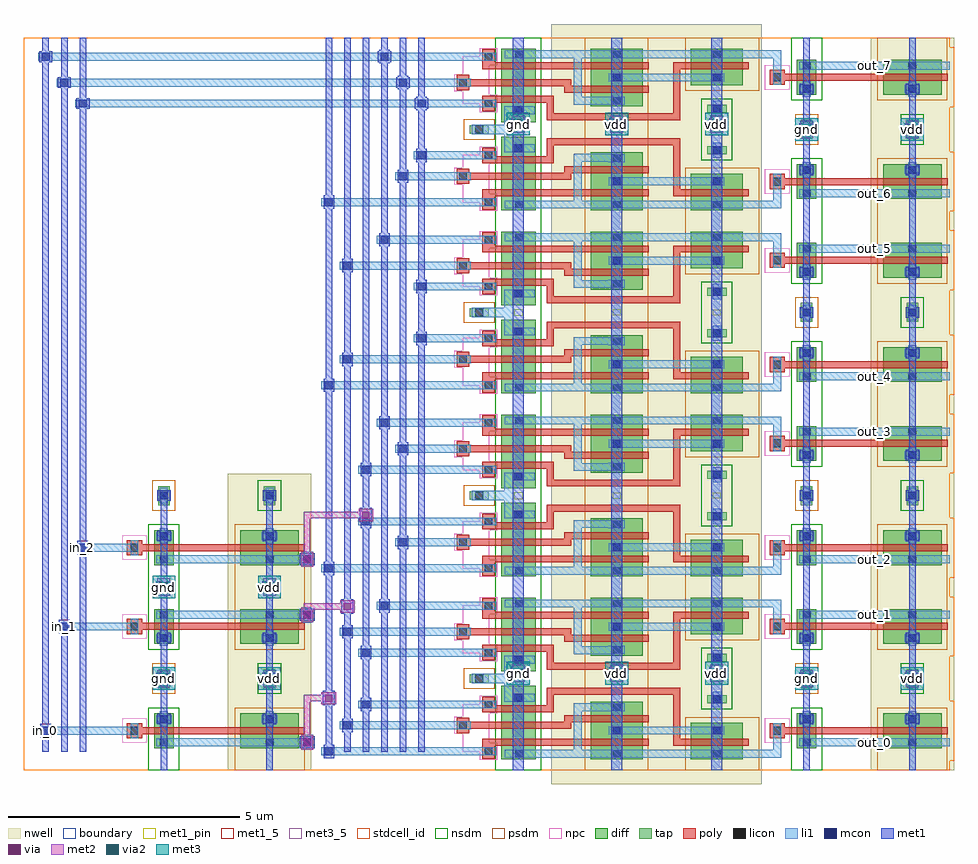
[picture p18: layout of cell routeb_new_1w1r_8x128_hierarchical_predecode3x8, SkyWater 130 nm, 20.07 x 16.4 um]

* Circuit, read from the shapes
.subckt routeb_new_1w1r_8x128_hierarchical_predecode3x8 gnd in_0 in_1 in_2 out_0 out_1 out_2 out_3 out_4 out_5 out_6 out_7 vdd
XM1 gnd in_0 routeb_new_1w1r_8x128_and3_dec_3/A gnd sky130_fd_pr__nfet_01v8 w=0.42 l=0.15
XM2 routeb_new_1w1r_8x128_and3_dec_3/B in_1 gnd gnd sky130_fd_pr__nfet_01v8 w=0.42 l=0.15
XM3 gnd in_2 routeb_new_1w1r_8x128_and3_dec_3/C gnd sky130_fd_pr__nfet_01v8 w=0.42 l=0.15
XM4 n1 routeb_new_1w1r_8x128_and3_dec_3/A routeb_new_1w1r_8x128_and3_dec_3/routeb_new_1w1r_8x128_pinv_dec_1/A gnd sky130_fd_pr__nfet_01v8 w=0.74 l=0.15
XM5 n2 routeb_new_1w1r_8x128_and3_dec_3/B n1 gnd sky130_fd_pr__nfet_01v8 w=0.74 l=0.15
XM6 gnd routeb_new_1w1r_8x128_and3_dec_3/C n2 gnd sky130_fd_pr__nfet_01v8 w=0.74 l=0.15
XM7 n3 routeb_new_1w1r_8x128_and3_dec_3/C gnd gnd sky130_fd_pr__nfet_01v8 w=0.74 l=0.15
XM8 n4 routeb_new_1w1r_8x128_and3_dec_3/B n3 gnd sky130_fd_pr__nfet_01v8 w=0.74 l=0.15
XM9 routeb_new_1w1r_8x128_and3_dec_4/routeb_new_1w1r_8x128_pinv_dec_1/A in_0 n4 gnd sky130_fd_pr__nfet_01v8 w=0.74 l=0.15
XM10 n5 routeb_new_1w1r_8x128_and3_dec_3/A routeb_new_1w1r_8x128_and3_dec_5/routeb_new_1w1r_8x128_pinv_dec_1/A gnd sky130_fd_pr__nfet_01v8 w=0.74 l=0.15
XM11 n6 in_1 n5 gnd sky130_fd_pr__nfet_01v8 w=0.74 l=0.15
XM12 gnd routeb_new_1w1r_8x128_and3_dec_3/C n6 gnd sky130_fd_pr__nfet_01v8 w=0.74 l=0.15
XM13 n7 routeb_new_1w1r_8x128_and3_dec_3/C gnd gnd sky130_fd_pr__nfet_01v8 w=0.74 l=0.15
XM14 n8 in_1 n7 gnd sky130_fd_pr__nfet_01v8 w=0.74 l=0.15
XM15 routeb_new_1w1r_8x128_and3_dec_6/routeb_new_1w1r_8x128_pinv_dec_1/A in_0 n8 gnd sky130_fd_pr__nfet_01v8 w=0.74 l=0.15
XM16 n9 routeb_new_1w1r_8x128_and3_dec_3/A routeb_new_1w1r_8x128_and3_dec_7/routeb_new_1w1r_8x128_pinv_dec_1/A gnd sky130_fd_pr__nfet_01v8 w=0.74 l=0.15
XM17 n10 routeb_new_1w1r_8x128_and3_dec_3/B n9 gnd sky130_fd_pr__nfet_01v8 w=0.74 l=0.15
XM18 gnd in_2 n10 gnd sky130_fd_pr__nfet_01v8 w=0.74 l=0.15
XM19 n11 in_2 gnd gnd sky130_fd_pr__nfet_01v8 w=0.74 l=0.15
XM20 n12 routeb_new_1w1r_8x128_and3_dec_3/B n11 gnd sky130_fd_pr__nfet_01v8 w=0.74 l=0.15
XM21 routeb_new_1w1r_8x128_and3_dec_8/routeb_new_1w1r_8x128_pinv_dec_1/A in_0 n12 gnd sky130_fd_pr__nfet_01v8 w=0.74 l=0.15
XM22 n13 routeb_new_1w1r_8x128_and3_dec_3/A routeb_new_1w1r_8x128_and3_dec_9/routeb_new_1w1r_8x128_pinv_dec_1/A gnd sky130_fd_pr__nfet_01v8 w=0.74 l=0.15
XM23 n14 in_1 n13 gnd sky130_fd_pr__nfet_01v8 w=0.74 l=0.15
XM24 gnd in_2 n14 gnd sky130_fd_pr__nfet_01v8 w=0.74 l=0.15
XM25 n15 in_2 gnd gnd sky130_fd_pr__nfet_01v8 w=0.74 l=0.15
XM26 n16 in_1 n15 gnd sky130_fd_pr__nfet_01v8 w=0.74 l=0.15
XM27 routeb_new_1w1r_8x128_and3_dec_10/routeb_new_1w1r_8x128_pinv_dec_1/A in_0 n16 gnd sky130_fd_pr__nfet_01v8 w=0.74 l=0.15
XM28 gnd routeb_new_1w1r_8x128_and3_dec_3/routeb_new_1w1r_8x128_pinv_dec_1/A out_0 gnd sky130_fd_pr__nfet_01v8 w=0.42 l=0.15
XM29 out_1 routeb_new_1w1r_8x128_and3_dec_4/routeb_new_1w1r_8x128_pinv_dec_1/A gnd gnd sky130_fd_pr__nfet_01v8 w=0.42 l=0.15
XM30 gnd routeb_new_1w1r_8x128_and3_dec_5/routeb_new_1w1r_8x128_pinv_dec_1/A out_2 gnd sky130_fd_pr__nfet_01v8 w=0.42 l=0.15
XM31 out_3 routeb_new_1w1r_8x128_and3_dec_6/routeb_new_1w1r_8x128_pinv_dec_1/A gnd gnd sky130_fd_pr__nfet_01v8 w=0.42 l=0.15
XM32 gnd routeb_new_1w1r_8x128_and3_dec_7/routeb_new_1w1r_8x128_pinv_dec_1/A out_4 gnd sky130_fd_pr__nfet_01v8 w=0.42 l=0.15
XM33 out_5 routeb_new_1w1r_8x128_and3_dec_8/routeb_new_1w1r_8x128_pinv_dec_1/A gnd gnd sky130_fd_pr__nfet_01v8 w=0.42 l=0.15
XM34 gnd routeb_new_1w1r_8x128_and3_dec_9/routeb_new_1w1r_8x128_pinv_dec_1/A out_6 gnd sky130_fd_pr__nfet_01v8 w=0.42 l=0.15
XM35 out_7 routeb_new_1w1r_8x128_and3_dec_10/routeb_new_1w1r_8x128_pinv_dec_1/A gnd gnd sky130_fd_pr__nfet_01v8 w=0.42 l=0.15
XM36 vdd in_0 routeb_new_1w1r_8x128_and3_dec_3/A vdd sky130_fd_pr__pfet_01v8 w=1.26 l=0.15
XM37 routeb_new_1w1r_8x128_and3_dec_3/B in_1 vdd vdd sky130_fd_pr__pfet_01v8 w=1.26 l=0.15
XM38 vdd in_2 routeb_new_1w1r_8x128_and3_dec_3/C vdd sky130_fd_pr__pfet_01v8 w=1.26 l=0.15
XM39 vdd routeb_new_1w1r_8x128_and3_dec_3/A routeb_new_1w1r_8x128_and3_dec_3/routeb_new_1w1r_8x128_pinv_dec_1/A vdd sky130_fd_pr__pfet_01v8 w=1.12 l=0.15
XM40 routeb_new_1w1r_8x128_and3_dec_3/routeb_new_1w1r_8x128_pinv_dec_1/A routeb_new_1w1r_8x128_and3_dec_3/B vdd vdd sky130_fd_pr__pfet_01v8 w=1.12 l=0.15
XM41 vdd routeb_new_1w1r_8x128_and3_dec_3/B routeb_new_1w1r_8x128_and3_dec_4/routeb_new_1w1r_8x128_pinv_dec_1/A vdd sky130_fd_pr__pfet_01v8 w=1.12 l=0.15
XM42 routeb_new_1w1r_8x128_and3_dec_4/routeb_new_1w1r_8x128_pinv_dec_1/A in_0 vdd vdd sky130_fd_pr__pfet_01v8 w=1.12 l=0.15
XM43 vdd routeb_new_1w1r_8x128_and3_dec_3/A routeb_new_1w1r_8x128_and3_dec_5/routeb_new_1w1r_8x128_pinv_dec_1/A vdd sky130_fd_pr__pfet_01v8 w=1.12 l=0.15
XM44 routeb_new_1w1r_8x128_and3_dec_5/routeb_new_1w1r_8x128_pinv_dec_1/A in_1 vdd vdd sky130_fd_pr__pfet_01v8 w=1.12 l=0.15
XM45 vdd in_1 routeb_new_1w1r_8x128_and3_dec_6/routeb_new_1w1r_8x128_pinv_dec_1/A vdd sky130_fd_pr__pfet_01v8 w=1.12 l=0.15
XM46 routeb_new_1w1r_8x128_and3_dec_6/routeb_new_1w1r_8x128_pinv_dec_1/A in_0 vdd vdd sky130_fd_pr__pfet_01v8 w=1.12 l=0.15
XM47 vdd routeb_new_1w1r_8x128_and3_dec_3/A routeb_new_1w1r_8x128_and3_dec_7/routeb_new_1w1r_8x128_pinv_dec_1/A vdd sky130_fd_pr__pfet_01v8 w=1.12 l=0.15
XM48 routeb_new_1w1r_8x128_and3_dec_7/routeb_new_1w1r_8x128_pinv_dec_1/A routeb_new_1w1r_8x128_and3_dec_3/B vdd vdd sky130_fd_pr__pfet_01v8 w=1.12 l=0.15
XM49 vdd routeb_new_1w1r_8x128_and3_dec_3/B routeb_new_1w1r_8x128_and3_dec_8/routeb_new_1w1r_8x128_pinv_dec_1/A vdd sky130_fd_pr__pfet_01v8 w=1.12 l=0.15
XM50 routeb_new_1w1r_8x128_and3_dec_8/routeb_new_1w1r_8x128_pinv_dec_1/A in_0 vdd vdd sky130_fd_pr__pfet_01v8 w=1.12 l=0.15
XM51 vdd routeb_new_1w1r_8x128_and3_dec_3/A routeb_new_1w1r_8x128_and3_dec_9/routeb_new_1w1r_8x128_pinv_dec_1/A vdd sky130_fd_pr__pfet_01v8 w=1.12 l=0.15
XM52 routeb_new_1w1r_8x128_and3_dec_9/routeb_new_1w1r_8x128_pinv_dec_1/A in_1 vdd vdd sky130_fd_pr__pfet_01v8 w=1.12 l=0.15
XM53 vdd in_1 routeb_new_1w1r_8x128_and3_dec_10/routeb_new_1w1r_8x128_pinv_dec_1/A vdd sky130_fd_pr__pfet_01v8 w=1.12 l=0.15
XM54 routeb_new_1w1r_8x128_and3_dec_10/routeb_new_1w1r_8x128_pinv_dec_1/A in_0 vdd vdd sky130_fd_pr__pfet_01v8 w=1.12 l=0.15
XM55 vdd routeb_new_1w1r_8x128_and3_dec_3/C routeb_new_1w1r_8x128_and3_dec_3/routeb_new_1w1r_8x128_pinv_dec_1/A vdd sky130_fd_pr__pfet_01v8 w=1.12 l=0.15
XM56 routeb_new_1w1r_8x128_and3_dec_4/routeb_new_1w1r_8x128_pinv_dec_1/A routeb_new_1w1r_8x128_and3_dec_3/C vdd vdd sky130_fd_pr__pfet_01v8 w=1.12 l=0.15
XM57 vdd routeb_new_1w1r_8x128_and3_dec_3/C routeb_new_1w1r_8x128_and3_dec_5/routeb_new_1w1r_8x128_pinv_dec_1/A vdd sky130_fd_pr__pfet_01v8 w=1.12 l=0.15
XM58 routeb_new_1w1r_8x128_and3_dec_6/routeb_new_1w1r_8x128_pinv_dec_1/A routeb_new_1w1r_8x128_and3_dec_3/C vdd vdd sky130_fd_pr__pfet_01v8 w=1.12 l=0.15
XM59 vdd in_2 routeb_new_1w1r_8x128_and3_dec_7/routeb_new_1w1r_8x128_pinv_dec_1/A vdd sky130_fd_pr__pfet_01v8 w=1.12 l=0.15
XM60 routeb_new_1w1r_8x128_and3_dec_8/routeb_new_1w1r_8x128_pinv_dec_1/A in_2 vdd vdd sky130_fd_pr__pfet_01v8 w=1.12 l=0.15
XM61 vdd in_2 routeb_new_1w1r_8x128_and3_dec_9/routeb_new_1w1r_8x128_pinv_dec_1/A vdd sky130_fd_pr__pfet_01v8 w=1.12 l=0.15
XM62 routeb_new_1w1r_8x128_and3_dec_10/routeb_new_1w1r_8x128_pinv_dec_1/A in_2 vdd vdd sky130_fd_pr__pfet_01v8 w=1.12 l=0.15
XM63 vdd routeb_new_1w1r_8x128_and3_dec_3/routeb_new_1w1r_8x128_pinv_dec_1/A out_0 vdd sky130_fd_pr__pfet_01v8 w=1.26 l=0.15
XM64 out_1 routeb_new_1w1r_8x128_and3_dec_4/routeb_new_1w1r_8x128_pinv_dec_1/A vdd vdd sky130_fd_pr__pfet_01v8 w=1.26 l=0.15
XM65 vdd routeb_new_1w1r_8x128_and3_dec_5/routeb_new_1w1r_8x128_pinv_dec_1/A out_2 vdd sky130_fd_pr__pfet_01v8 w=1.26 l=0.15
XM66 out_3 routeb_new_1w1r_8x128_and3_dec_6/routeb_new_1w1r_8x128_pinv_dec_1/A vdd vdd sky130_fd_pr__pfet_01v8 w=1.26 l=0.15
XM67 vdd routeb_new_1w1r_8x128_and3_dec_7/routeb_new_1w1r_8x128_pinv_dec_1/A out_4 vdd sky130_fd_pr__pfet_01v8 w=1.26 l=0.15
XM68 out_5 routeb_new_1w1r_8x128_and3_dec_8/routeb_new_1w1r_8x128_pinv_dec_1/A vdd vdd sky130_fd_pr__pfet_01v8 w=1.26 l=0.15
XM69 vdd routeb_new_1w1r_8x128_and3_dec_9/routeb_new_1w1r_8x128_pinv_dec_1/A out_6 vdd sky130_fd_pr__pfet_01v8 w=1.26 l=0.15
XM70 out_7 routeb_new_1w1r_8x128_and3_dec_10/routeb_new_1w1r_8x128_pinv_dec_1/A vdd vdd sky130_fd_pr__pfet_01v8 w=1.26 l=0.15
.ends

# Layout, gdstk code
from math import pi, radians
import gdstk
lib = gdstk.Library(unit=1e-6, precision=1e-09)
def R(c, l, rs):  # rectangles x0, y0, x1, y1
    for r in rs: c.add(gdstk.rectangle(r[:2], r[2:], *l))
def A(c, l, x, y, w, h, nx, ny, dx, dy):  # array of equal rectangles
    R(c, l, [(x+i*dx, y+j*dy, x+i*dx+w, y+j*dy+h) for i in range(nx) for j in range(ny)])
nwell = (64, 20)
diff = (65, 20)
tap = (65, 44)
poly = (66, 20)
licon = (66, 44)
li1 = (67, 20)
mcon = (67, 44)
met1_5 = (68, 5)
met1_pin = (68, 16)
met1 = (68, 20)
via = (68, 44)
met2 = (69, 20)
via2 = (69, 44)
met3_5 = (70, 5)
met3 = (70, 20)
stdcell_id = (81, 4)
nsdm = (93, 44)
psdm = (94, 20)
npc = (95, 20)
boundary = (235, 4)

routeb_new_1w1r_8x128_co = lib.new_cell('routeb_new_1w1r_8x128_contact_11')
R(routeb_new_1w1r_8x128_co, nwell, [(-0.295,-0.255,0.545,0.585)])
R(routeb_new_1w1r_8x128_co, diff, [(0,0.02,0.25,0.31)])
R(routeb_new_1w1r_8x128_co, licon, [(0.04,0.08,0.21,0.25)])
R(routeb_new_1w1r_8x128_co, li1, [(0.04,0,0.21,0.33)])
R(routeb_new_1w1r_8x128_co, stdcell_id, [(-0.295,-0.255,0.545,0.585)])
R(routeb_new_1w1r_8x128_co, psdm, [(-0.125,-0.105,0.375,0.435)])
R(routeb_new_1w1r_8x128_co, boundary, [(-0.295,-0.255,0.545,0.585)])

routeb_new_1w1r_8x128_pm = lib.new_cell('routeb_new_1w1r_8x128_pmos_m1_w1_260_sli_dli_da_p')
R(routeb_new_1w1r_8x128_pm, nwell, [(-0.27,-0.27,1.02,1.53)])
R(routeb_new_1w1r_8x128_pm, diff, [(0,0,0.75,1.26)])
R(routeb_new_1w1r_8x128_pm, poly, [(0.3,-0.13,0.45,1.39), (0.3,-0.13,0.45,1.39)])
R(routeb_new_1w1r_8x128_pm, li1, [(0.04,0.465,0.21,0.795), (0.54,0.465,0.71,0.795)])
R(routeb_new_1w1r_8x128_pm, stdcell_id, [(-0.27,-0.27,1.02,1.53)])
R(routeb_new_1w1r_8x128_pm, psdm, [(-0.125,-0.125,0.875,1.385)])
R(routeb_new_1w1r_8x128_pm, boundary, [(-0.27,-0.27,1.02,1.53)])
routeb_new_1w1r_8x128_pm.add(gdstk.Reference(routeb_new_1w1r_8x128_co, (0,0.465)))
routeb_new_1w1r_8x128_pm.add(gdstk.Reference(routeb_new_1w1r_8x128_co, (0.5,0.465)))
routeb_new_1w1r_8x128_pm.add(gdstk.Label('G', (0.375,0.63), layer=66, texttype=5))
routeb_new_1w1r_8x128_pm.add(gdstk.Label('S', (0.125,0.63), layer=67, texttype=5))
routeb_new_1w1r_8x128_pm.add(gdstk.Label('D', (0.625,0.63), layer=67, texttype=5))

c_routeb_new_1w1r_8x128_co = lib.new_cell('routeb_new_1w1r_8x128_contact_10')
R(c_routeb_new_1w1r_8x128_co, diff, [(0,0.02,0.25,0.31)])
R(c_routeb_new_1w1r_8x128_co, licon, [(0.04,0.08,0.21,0.25)])
R(c_routeb_new_1w1r_8x128_co, li1, [(0.04,0,0.21,0.33)])
R(c_routeb_new_1w1r_8x128_co, stdcell_id, [(-0.125,-0.105,0.375,0.435)])
R(c_routeb_new_1w1r_8x128_co, nsdm, [(-0.125,-0.105,0.375,0.435)])
R(c_routeb_new_1w1r_8x128_co, boundary, [(-0.125,-0.105,0.375,0.435)])

routeb_new_1w1r_8x128_nm = lib.new_cell('routeb_new_1w1r_8x128_nmos_m1_w0_420_sli_dli_da_p')
R(routeb_new_1w1r_8x128_nm, diff, [(0,0,0.75,0.42)])
R(routeb_new_1w1r_8x128_nm, poly, [(0.3,-0.13,0.45,0.55), (0.3,-0.13,0.45,0.55)])
R(routeb_new_1w1r_8x128_nm, li1, [(0.04,0.045,0.21,0.375), (0.54,0.045,0.71,0.375)])
R(routeb_new_1w1r_8x128_nm, stdcell_id, [(-0.125,-0.13,0.875,0.55)])
R(routeb_new_1w1r_8x128_nm, nsdm, [(-0.125,-0.125,0.875,0.545)])
R(routeb_new_1w1r_8x128_nm, boundary, [(-0.125,-0.13,0.875,0.55)])
routeb_new_1w1r_8x128_nm.add(gdstk.Reference(c_routeb_new_1w1r_8x128_co, (0,0.045)))
routeb_new_1w1r_8x128_nm.add(gdstk.Reference(c_routeb_new_1w1r_8x128_co, (0.5,0.045)))
routeb_new_1w1r_8x128_nm.add(gdstk.Label('G', (0.375,0.21), layer=66, texttype=5))
routeb_new_1w1r_8x128_nm.add(gdstk.Label('S', (0.125,0.21), layer=67, texttype=5))
routeb_new_1w1r_8x128_nm.add(gdstk.Label('D', (0.625,0.21), layer=67, texttype=5))

c_routeb_new_1w1r_8x128_co_ = lib.new_cell('routeb_new_1w1r_8x128_contact_12')
R(c_routeb_new_1w1r_8x128_co_, nwell, [(-0.295,-0.215,0.545,0.625)])
R(c_routeb_new_1w1r_8x128_co_, tap, [(0,0,0.25,0.41)])
R(c_routeb_new_1w1r_8x128_co_, licon, [(0.04,0.12,0.21,0.29)])
R(c_routeb_new_1w1r_8x128_co_, li1, [(0.04,0.04,0.21,0.37)])
R(c_routeb_new_1w1r_8x128_co_, stdcell_id, [(-0.295,-0.215,0.545,0.625)])
R(c_routeb_new_1w1r_8x128_co_, nsdm, [(-0.125,-0.125,0.375,0.535)])
R(c_routeb_new_1w1r_8x128_co_, boundary, [(-0.295,-0.215,0.545,0.625)])

c_routeb_new_1w1r_8x128_co__ = lib.new_cell('routeb_new_1w1r_8x128_contact_13')
R(c_routeb_new_1w1r_8x128_co__, li1, [(0.06,0,0.23,0.33)])
R(c_routeb_new_1w1r_8x128_co__, mcon, [(0.06,0.08,0.23,0.25)])
R(c_routeb_new_1w1r_8x128_co__, met1, [(0,0.05,0.29,0.28)])
R(c_routeb_new_1w1r_8x128_co__, stdcell_id, [(0,0,0.29,0.33)])
R(c_routeb_new_1w1r_8x128_co__, boundary, [(0,0,0.29,0.33)])

c_routeb_new_1w1r_8x128_co___ = lib.new_cell('routeb_new_1w1r_8x128_contact_14')
R(c_routeb_new_1w1r_8x128_co___, tap, [(0,0,0.25,0.41)])
R(c_routeb_new_1w1r_8x128_co___, licon, [(0.04,0.12,0.21,0.29)])
R(c_routeb_new_1w1r_8x128_co___, li1, [(0.04,0.04,0.21,0.37)])
R(c_routeb_new_1w1r_8x128_co___, stdcell_id, [(-0.125,-0.125,0.375,0.535)])
R(c_routeb_new_1w1r_8x128_co___, psdm, [(-0.125,-0.125,0.375,0.535)])
R(c_routeb_new_1w1r_8x128_co___, boundary, [(-0.125,-0.125,0.375,0.535)])

c_routeb_new_1w1r_8x128_co____ = lib.new_cell('routeb_new_1w1r_8x128_contact_15')
R(c_routeb_new_1w1r_8x128_co____, poly, [(0,0,0.33,0.33)])
R(c_routeb_new_1w1r_8x128_co____, licon, [(0.08,0.08,0.25,0.25)])
R(c_routeb_new_1w1r_8x128_co____, li1, [(0.08,0,0.25,0.33)])
R(c_routeb_new_1w1r_8x128_co____, stdcell_id, [(-0.1,-0.1,0.43,0.43)])
R(c_routeb_new_1w1r_8x128_co____, npc, [(-0.1,-0.1,0.43,0.43)])
R(c_routeb_new_1w1r_8x128_co____, boundary, [(-0.1,-0.1,0.43,0.43)])

routeb_new_1w1r_8x128_pi = lib.new_cell('routeb_new_1w1r_8x128_pinv_dec')
R(routeb_new_1w1r_8x128_pi, nwell, [(2.4,0,4.2,2.45)])
R(routeb_new_1w1r_8x128_pi, poly, [(0.385,0.775,0.68,0.925), (1.36,0.775,2.54,0.925)])
R(routeb_new_1w1r_8x128_pi, li1, [(0.855,0.515,4.11,0.685), (0.3,0.685,0.47,1.015)])
R(routeb_new_1w1r_8x128_pi, met1_5, [(0.95,0,1.09,1.975), (3.23,0,3.37,1.975)])
R(routeb_new_1w1r_8x128_pi, met1, [(0.95,0,1.09,1.975), (3.23,0,3.37,1.975)])
R(routeb_new_1w1r_8x128_pi, stdcell_id, [(0,0,4.11,1.975), (0,0,4.11,1.975)])
R(routeb_new_1w1r_8x128_pi, nsdm, [(0.685,0,1.355,1.225)])
R(routeb_new_1w1r_8x128_pi, psdm, [(2.545,0,4.055,1.225)])
R(routeb_new_1w1r_8x128_pi, boundary, [(0,0,4.11,1.975), (0,0,4.11,1.975)])
routeb_new_1w1r_8x128_pi.add(gdstk.Reference(routeb_new_1w1r_8x128_pm, (2.67,1.225), rotation=3*pi/2))
routeb_new_1w1r_8x128_pi.add(gdstk.Reference(routeb_new_1w1r_8x128_nm, (0.81,1.225), rotation=3*pi/2))
routeb_new_1w1r_8x128_pi.add(gdstk.Reference(c_routeb_new_1w1r_8x128_co_, (3.175,1.77)))
routeb_new_1w1r_8x128_pi.add(gdstk.Reference(c_routeb_new_1w1r_8x128_co__, (3.155,1.81)))
routeb_new_1w1r_8x128_pi.add(gdstk.Reference(c_routeb_new_1w1r_8x128_co___, (0.895,1.77)))
routeb_new_1w1r_8x128_pi.add(gdstk.Reference(c_routeb_new_1w1r_8x128_co__, (0.875,1.81)))
routeb_new_1w1r_8x128_pi.add(gdstk.Reference(c_routeb_new_1w1r_8x128_co____, (0.22,0.685)))
routeb_new_1w1r_8x128_pi.add(gdstk.Reference(c_routeb_new_1w1r_8x128_co__, (0.875,0.935)))
routeb_new_1w1r_8x128_pi.add(gdstk.Reference(c_routeb_new_1w1r_8x128_co__, (3.155,0.935)))
routeb_new_1w1r_8x128_pi.add(gdstk.Label('A', (0.385,0.85), layer=67, texttype=5))
routeb_new_1w1r_8x128_pi.add(gdstk.Label('Z', (2.482,0.6), layer=67, texttype=5))
routeb_new_1w1r_8x128_pi.add(gdstk.Label('gnd', (1.02,0.988), layer=68, texttype=5))
routeb_new_1w1r_8x128_pi.add(gdstk.Label('vdd', (3.3,0.988), layer=68, texttype=5))

sky130_fd_bd_sram__openr = lib.new_cell('sky130_fd_bd_sram__openram_dp_nand3_dec')
R(sky130_fd_bd_sram__openr, nwell, [(2.07,-0.3,6.61,2.37)])
R(sky130_fd_bd_sram__openr, diff, [(0.99,0.23,1.73,1.82), (2.92,0.23,4.04,1.48), (5.08,0.23,6.2,1.02)])
R(sky130_fd_bd_sram__openr, tap, [(5.43,1.44,5.85,1.61), (0.31,1.885,0.72,2.07)])
R(sky130_fd_bd_sram__openr, poly, [(0.58,0.24,0.85,0.53), (0.58,0.53,4.17,0.68), (4.7,0.53,6.33,0.68), (4.7,0.68,4.85,1.63), (0.03,0.8,0.3,0.89), (0.03,0.89,2.5,1.03), (0.03,1.03,4.17,1.04), (0.03,1.04,0.3,1.13), (2.35,1.04,4.17,1.18), (0.58,1.25,2.12,1.4), (0.58,1.4,0.85,1.58), (1.97,1.4,2.12,1.63), (1.97,1.63,4.85,1.78)])
A(sky130_fd_bd_sram__openr, licon, 3.395, 0.27, 0.17, 0.17, 1, 3, 0, 0.5)
R(sky130_fd_bd_sram__openr, licon, [(1.295,0.27,1.465,0.44), (5.555,0.27,5.725,0.44), (0.63,0.32,0.8,0.49), (5.555,0.77,5.725,0.94), (0.08,0.88,0.25,1.05), (0.63,1.33,0.8,1.5), (5.55,1.44,5.72,1.61), (1.305,1.48,1.475,1.65), (0.43,1.89,0.6,2.06)])
R(sky130_fd_bd_sram__openr, li1, [(1.06,0.27,6.61,0.44), (1.06,0.27,6.61,0.44), (0.55,0.32,0.88,0.49), (0.55,0.32,0.88,0.49), (2.555,0.44,2.725,1.275), (3.31,0.77,5.805,0.94), (0,0.88,0.33,1.05), (0,0.88,0.33,1.05), (3.31,1.27,3.65,1.275), (2.555,1.275,3.65,1.44), (0.55,1.33,0.88,1.5), (0.55,1.33,0.88,1.5), (5.55,1.36,5.74,1.69), (2.555,1.44,3.435,1.445), (1.05,1.48,1.71,1.65), (1.05,1.65,1.25,1.885), (0.35,1.885,1.25,2.075)])
R(sky130_fd_bd_sram__openr, mcon, [(3.395,0.77,3.565,0.94), (5.555,0.77,5.725,0.94), (5.555,1.44,5.725,1.61), (1.27,1.48,1.44,1.65)])
R(sky130_fd_bd_sram__openr, met1_5, [(1.24,0,1.47,2.09), (3.36,0,3.6,2.09), (5.52,0,5.76,2.09)])
R(sky130_fd_bd_sram__openr, met1_pin, [(1.27,1.9,1.45,1.99), (3.39,1.91,3.57,2), (5.55,1.94,5.73,2.03)])
R(sky130_fd_bd_sram__openr, met1, [(1.24,0,1.47,2.09), (1.24,0,1.47,2.09), (3.36,0,3.6,2.09), (3.36,0,3.6,2.09), (5.52,0,5.76,2.09), (5.52,0,5.76,2.09)])
R(sky130_fd_bd_sram__openr, nsdm, [(0.865,0,1.855,1.975), (5.305,1.315,5.975,1.975)])
R(sky130_fd_bd_sram__openr, psdm, [(2.795,0,4.165,1.975), (4.955,0,6.56,1.145), (0.185,1.76,0.845,2.195)])
R(sky130_fd_bd_sram__openr, npc, [(0.53,0.22,0.9,0.395), (0.155,0.395,0.9,0.59), (0.155,0.59,0.725,0.78), (-0.02,0.78,0.725,1.15), (0.155,1.15,0.725,1.23), (0.155,1.23,0.9,1.425), (0.53,1.425,0.9,1.6)])
R(sky130_fd_bd_sram__openr, boundary, [(0,0,6.56,1.975)])
sky130_fd_bd_sram__openr.add(gdstk.Label('VDD', (3.48,1.955), layer=68, texttype=16))
sky130_fd_bd_sram__openr.add(gdstk.Label('VDD', (5.64,1.985), layer=68, texttype=16))
sky130_fd_bd_sram__openr.add(gdstk.Label('GND', (1.36,1.945), layer=68, texttype=16))
sky130_fd_bd_sram__openr.add(gdstk.Label('C', (0.7,1.42), layer=67, texttype=16))
sky130_fd_bd_sram__openr.add(gdstk.Label('Z', (6.47,0.355), layer=67, texttype=16))
sky130_fd_bd_sram__openr.add(gdstk.Label('B', (0.15,0.98), layer=67, texttype=16))
sky130_fd_bd_sram__openr.add(gdstk.Label('A', (0.7,0.42), layer=67, texttype=16))
sky130_fd_bd_sram__openr.add(gdstk.Label('A', (0.715,0.405), layer=67, texttype=5))
sky130_fd_bd_sram__openr.add(gdstk.Label('B', (0.165,0.965), layer=67, texttype=5))
sky130_fd_bd_sram__openr.add(gdstk.Label('C', (0.715,1.415), layer=67, texttype=5))
sky130_fd_bd_sram__openr.add(gdstk.Label('Z', (3.835,0.355), layer=67, texttype=5))
sky130_fd_bd_sram__openr.add(gdstk.Label('vdd', (3.48,1.045), layer=68, texttype=5))
sky130_fd_bd_sram__openr.add(gdstk.Label('vdd', (5.64,1.045), layer=68, texttype=5))
sky130_fd_bd_sram__openr.add(gdstk.Label('gnd', (1.355,1.045), layer=68, texttype=5))

routeb_new_1w1r_8x128_an = lib.new_cell('routeb_new_1w1r_8x128_and3_dec')
R(routeb_new_1w1r_8x128_an, li1, [(3.835,0.27,6.945,0.44), (6.86,0.27,7.03,0.44), (0.55,0.32,0.88,0.49), (6.86,0.355,7.03,0.85), (7.415,0.515,10.67,0.685), (0,0.88,0.33,1.05), (0.55,1.33,0.88,1.5)])
R(routeb_new_1w1r_8x128_an, met1_5, [(1.24,0,1.47,2.09), (3.36,0,3.6,2.09), (5.52,0,5.76,2.09), (7.51,0,7.65,1.975), (9.79,0,9.93,1.975)])
R(routeb_new_1w1r_8x128_an, met1, [(1.24,0,1.47,2.09), (3.36,0,3.6,2.09), (5.52,0,5.76,2.09), (7.51,0,7.65,1.975), (9.79,0,9.93,1.975)])
R(routeb_new_1w1r_8x128_an, stdcell_id, [(0,0,10.67,1.975)])
R(routeb_new_1w1r_8x128_an, boundary, [(0,0,10.67,1.975)])
routeb_new_1w1r_8x128_an.add(gdstk.Reference(sky130_fd_bd_sram__openr, (0,0)))
routeb_new_1w1r_8x128_an.add(gdstk.Reference(routeb_new_1w1r_8x128_pi, (6.56,0)))
routeb_new_1w1r_8x128_an.add(gdstk.Label('Z', (9.042,0.6), layer=67, texttype=5))
routeb_new_1w1r_8x128_an.add(gdstk.Label('A', (0.715,0.405), layer=67, texttype=5))
routeb_new_1w1r_8x128_an.add(gdstk.Label('B', (0.165,0.965), layer=67, texttype=5))
routeb_new_1w1r_8x128_an.add(gdstk.Label('C', (0.715,1.415), layer=67, texttype=5))
routeb_new_1w1r_8x128_an.add(gdstk.Label('vdd', (9.86,0.988), layer=68, texttype=5))
routeb_new_1w1r_8x128_an.add(gdstk.Label('vdd', (5.64,1.045), layer=68, texttype=5))
routeb_new_1w1r_8x128_an.add(gdstk.Label('vdd', (3.48,1.045), layer=68, texttype=5))
routeb_new_1w1r_8x128_an.add(gdstk.Label('gnd', (1.355,1.045), layer=68, texttype=5))
routeb_new_1w1r_8x128_an.add(gdstk.Label('gnd', (7.58,0.988), layer=68, texttype=5))

c_routeb_new_1w1r_8x128_co_____ = lib.new_cell('routeb_new_1w1r_8x128_contact_16')
R(c_routeb_new_1w1r_8x128_co_____, li1, [(0,0.06,0.33,0.23)])
R(c_routeb_new_1w1r_8x128_co_____, mcon, [(0.08,0.06,0.25,0.23)])
R(c_routeb_new_1w1r_8x128_co_____, met1, [(0.05,0,0.28,0.29)])
R(c_routeb_new_1w1r_8x128_co_____, stdcell_id, [(0,0,0.33,0.29)])
R(c_routeb_new_1w1r_8x128_co_____, boundary, [(0,0,0.33,0.29)])

c_routeb_new_1w1r_8x128_co______ = lib.new_cell('routeb_new_1w1r_8x128_contact_18')
R(c_routeb_new_1w1r_8x128_co______, met1, [(0,0.03,0.32,0.29)])
R(c_routeb_new_1w1r_8x128_co______, via, [(0.085,0.085,0.235,0.235)])
R(c_routeb_new_1w1r_8x128_co______, met2, [(0.03,0,0.29,0.32)])
R(c_routeb_new_1w1r_8x128_co______, stdcell_id, [(0,0,0.32,0.32)])
R(c_routeb_new_1w1r_8x128_co______, boundary, [(0,0,0.32,0.32)])

c_routeb_new_1w1r_8x128_co_______ = lib.new_cell('routeb_new_1w1r_8x128_contact_19')
R(c_routeb_new_1w1r_8x128_co_______, met1, [(0.03,0,0.29,0.32)])
R(c_routeb_new_1w1r_8x128_co_______, via, [(0.085,0.085,0.235,0.235)])
R(c_routeb_new_1w1r_8x128_co_______, met2, [(0,0.03,0.32,0.29)])
R(c_routeb_new_1w1r_8x128_co_______, stdcell_id, [(0,0,0.32,0.32)])
R(c_routeb_new_1w1r_8x128_co_______, boundary, [(0,0,0.32,0.32)])

c_routeb_new_1w1r_8x128_co________ = lib.new_cell('routeb_new_1w1r_8x128_contact_20')
R(c_routeb_new_1w1r_8x128_co________, li1, [(0,0.03,0.33,0.2)])
R(c_routeb_new_1w1r_8x128_co________, mcon, [(0.08,0.03,0.25,0.2)])
R(c_routeb_new_1w1r_8x128_co________, met1, [(0.02,0,0.31,0.23)])
R(c_routeb_new_1w1r_8x128_co________, stdcell_id, [(0,0,0.33,0.23)])
R(c_routeb_new_1w1r_8x128_co________, boundary, [(0,0,0.33,0.23)])

c_routeb_new_1w1r_8x128_co_________ = lib.new_cell('routeb_new_1w1r_8x128_contact_21')
R(c_routeb_new_1w1r_8x128_co_________, met2, [(0.025,0,0.305,0.37)])
R(c_routeb_new_1w1r_8x128_co_________, via2, [(0.065,0.085,0.265,0.285)])
R(c_routeb_new_1w1r_8x128_co_________, met3, [(0,0.02,0.33,0.35)])
R(c_routeb_new_1w1r_8x128_co_________, stdcell_id, [(0,0,0.33,0.37)])
R(c_routeb_new_1w1r_8x128_co_________, boundary, [(0,0,0.33,0.37)])

routeb_new_1w1r_8x128_hi = lib.new_cell('routeb_new_1w1r_8x128_hierarchical_predecode3x8')
A(routeb_new_1w1r_8x128_hi, li1, 6.58, 0.32, 3.445, 0.17, 1, 4, 0, 3.95)
A(routeb_new_1w1r_8x128_hi, li1, 7.78, 3.46, 2.245, 0.17, 1, 4, 0, 3.95)
R(routeb_new_1w1r_8x128_hi, li1, [(9.94,0.32,10.11,0.49), (16.725,0.515,19.98,0.685), (0.47,0.765,2.385,0.935), (2.3,0.765,2.47,0.935), (6.98,0.88,9.475,1.05), (9.39,0.88,9.56,1.05), (7.38,1.33,10.025,1.5), (9.94,1.33,10.11,1.5), (7.38,2.45,10.025,2.62), (9.94,2.45,10.11,2.62), (6.98,2.9,9.475,3.07), (9.39,2.9,9.56,3.07), (0.87,3.015,2.385,3.185), (2.3,3.015,2.47,3.185), (16.725,3.265,19.98,3.435), (9.94,3.46,10.11,3.63), (9.94,4.27,10.11,4.44), (16.725,4.465,19.98,4.635), (1.27,4.715,2.385,4.885), (2.3,4.715,2.47,4.885), (8.18,4.83,9.475,5), (9.39,4.83,9.56,5), (7.38,5.28,10.025,5.45), (9.94,5.28,10.11,5.45), (7.38,6.4,10.025,6.57), (9.94,6.4,10.11,6.57), (8.18,6.85,9.475,7.02), (9.39,6.85,9.56,7.02), (16.725,7.215,19.98,7.385), (9.94,7.41,10.11,7.58), (9.94,8.22,10.11,8.39), (16.725,8.415,19.98,8.585), (6.98,8.78,9.475,8.95), (9.39,8.78,9.56,8.95), (8.58,9.23,10.025,9.4), (9.94,9.23,10.11,9.4), (8.58,10.35,10.025,10.52), (9.94,10.35,10.11,10.52), (6.98,10.8,9.475,10.97), (9.39,10.8,9.56,10.97), (16.725,11.165,19.98,11.335), (9.94,11.36,10.11,11.53), (9.94,12.17,10.11,12.34), (16.725,12.365,19.98,12.535), (8.18,12.73,9.475,12.9), (9.39,12.73,9.56,12.9), (8.58,13.18,10.025,13.35), (9.94,13.18,10.11,13.35), (1.27,14.3,8.58,14.47), (8.58,14.3,10.025,14.47), (9.94,14.3,10.11,14.47), (0.87,14.75,8.18,14.92), (8.18,14.75,9.475,14.92), (9.39,14.75,9.56,14.92), (16.725,15.115,19.98,15.285), (0.47,15.31,7.78,15.48), (9.94,15.31,10.11,15.48)])
R(routeb_new_1w1r_8x128_hi, met1_5, [(0.355,0.705,0.585,0.995), (0.755,2.955,0.985,3.245), (1.155,4.655,1.385,4.945)])
A(routeb_new_1w1r_8x128_hi, met1, 0.4, 0.4, 0.14, 15.4, 3, 1, 0.4, 0)
A(routeb_new_1w1r_8x128_hi, met1, 6.51, 0.4, 0.14, 15.4, 6, 1, 0.4, 0)
R(routeb_new_1w1r_8x128_hi, met1, [(2.95,0.4,3.09,5.925), (5.23,0.4,5.37,5.925), (10.55,0.4,10.78,15.8), (12.67,0.4,12.91,15.8), (14.83,0.4,15.07,15.8), (16.82,0.4,16.96,15.8), (19.1,0.4,19.24,15.8), (5.95,0.47,6.27,0.73), (0.355,0.705,0.585,0.995), (0.755,2.955,0.985,3.245), (5.95,3.22,6.27,3.48), (5.95,4.42,6.27,4.68), (1.155,4.655,1.385,4.945)])
A(routeb_new_1w1r_8x128_hi, met2, 6.04, 1.485, 0.14, 0.14, 1, 3, 0, 1.975)
R(routeb_new_1w1r_8x128_hi, met2, [(6.04,0.6,6.18,1.555), (6.11,1.485,6.58,1.625), (2.88,1.85,3.16,2.095), (5.16,1.85,5.44,2.095), (16.75,1.85,17.03,2.095), (19.03,1.85,19.31,2.095), (10.525,1.97,10.805,2.215), (12.65,1.97,12.93,2.215), (14.81,1.97,15.09,2.215), (6.04,3.35,6.18,3.53), (6.11,3.46,6.98,3.6), (2.88,3.83,3.16,4.075), (5.16,3.83,5.44,4.075), (6.04,4.55,6.18,5.505), (6.11,5.435,7.38,5.575), (16.75,13.7,17.03,13.945), (19.03,13.7,19.31,13.945), (10.525,13.82,10.805,14.065), (12.65,13.82,12.93,14.065), (14.81,13.82,15.09,14.065)])
R(routeb_new_1w1r_8x128_hi, met3_5, [(2.775,1.73,3.265,2.22), (5.055,1.73,5.545,2.22), (16.645,1.73,17.135,2.22), (18.925,1.73,19.415,2.22), (10.42,1.845,10.91,2.335), (12.545,1.845,13.035,2.335), (14.705,1.845,15.195,2.335), (2.775,3.705,3.265,4.195), (5.055,3.705,5.545,4.195), (16.645,13.58,17.135,14.07), (18.925,13.58,19.415,14.07), (10.42,13.695,10.91,14.185), (12.545,13.695,13.035,14.185), (14.705,13.695,15.195,14.185)])
R(routeb_new_1w1r_8x128_hi, met3, [(2.775,1.73,3.265,2.22), (5.055,1.73,5.545,2.22), (16.645,1.73,17.135,2.22), (18.925,1.73,19.415,2.22), (10.42,1.845,10.91,2.335), (12.545,1.845,13.035,2.335), (14.705,1.845,15.195,2.335), (2.775,3.705,3.265,4.195), (5.055,3.705,5.545,4.195), (16.645,13.58,17.135,14.07), (18.925,13.58,19.415,14.07), (10.42,13.695,10.91,14.185), (12.545,13.695,13.035,14.185), (14.705,13.695,15.195,14.185)])
R(routeb_new_1w1r_8x128_hi, stdcell_id, [(0,0,19.98,15.8)])
R(routeb_new_1w1r_8x128_hi, boundary, [(0,0,19.98,15.8)])
routeb_new_1w1r_8x128_hi.add(gdstk.Reference(routeb_new_1w1r_8x128_pi, (2,0)))
routeb_new_1w1r_8x128_hi.add(gdstk.Reference(routeb_new_1w1r_8x128_pi, (2,3.95), x_reflection=True))
routeb_new_1w1r_8x128_hi.add(gdstk.Reference(routeb_new_1w1r_8x128_pi, (2,3.95)))
routeb_new_1w1r_8x128_hi.add(gdstk.Reference(routeb_new_1w1r_8x128_an, (9.31,0)))
routeb_new_1w1r_8x128_hi.add(gdstk.Reference(routeb_new_1w1r_8x128_an, (9.31,3.95), x_reflection=True))
routeb_new_1w1r_8x128_hi.add(gdstk.Reference(routeb_new_1w1r_8x128_an, (9.31,3.95)))
routeb_new_1w1r_8x128_hi.add(gdstk.Reference(routeb_new_1w1r_8x128_an, (9.31,7.9), x_reflection=True))
routeb_new_1w1r_8x128_hi.add(gdstk.Reference(routeb_new_1w1r_8x128_an, (9.31,7.9)))
routeb_new_1w1r_8x128_hi.add(gdstk.Reference(routeb_new_1w1r_8x128_an, (9.31,11.85), x_reflection=True))
routeb_new_1w1r_8x128_hi.add(gdstk.Reference(routeb_new_1w1r_8x128_an, (9.31,11.85)))
routeb_new_1w1r_8x128_hi.add(gdstk.Reference(routeb_new_1w1r_8x128_an, (9.31,15.8), x_reflection=True))
routeb_new_1w1r_8x128_hi.add(gdstk.Reference(c_routeb_new_1w1r_8x128_co_____, (0.305,0.705)))
routeb_new_1w1r_8x128_hi.add(gdstk.Reference(c_routeb_new_1w1r_8x128_co_____, (0.705,2.955)))
routeb_new_1w1r_8x128_hi.add(gdstk.Reference(c_routeb_new_1w1r_8x128_co_____, (1.105,4.655)))
routeb_new_1w1r_8x128_hi.add(gdstk.Reference(c_routeb_new_1w1r_8x128_co_____, (6.415,0.26)))
routeb_new_1w1r_8x128_hi.add(gdstk.Reference(c_routeb_new_1w1r_8x128_co_____, (6.815,0.82)))
routeb_new_1w1r_8x128_hi.add(gdstk.Reference(c_routeb_new_1w1r_8x128_co_____, (7.215,1.27)))
routeb_new_1w1r_8x128_hi.add(gdstk.Reference(c_routeb_new_1w1r_8x128_co_____, (7.615,3.4)))
routeb_new_1w1r_8x128_hi.add(gdstk.Reference(c_routeb_new_1w1r_8x128_co_____, (6.815,2.84)))
routeb_new_1w1r_8x128_hi.add(gdstk.Reference(c_routeb_new_1w1r_8x128_co_____, (7.215,2.39)))
routeb_new_1w1r_8x128_hi.add(gdstk.Reference(c_routeb_new_1w1r_8x128_co_____, (6.415,4.21)))
routeb_new_1w1r_8x128_hi.add(gdstk.Reference(c_routeb_new_1w1r_8x128_co_____, (8.015,4.77)))
routeb_new_1w1r_8x128_hi.add(gdstk.Reference(c_routeb_new_1w1r_8x128_co_____, (7.215,5.22)))
routeb_new_1w1r_8x128_hi.add(gdstk.Reference(c_routeb_new_1w1r_8x128_co_____, (7.615,7.35)))
routeb_new_1w1r_8x128_hi.add(gdstk.Reference(c_routeb_new_1w1r_8x128_co_____, (8.015,6.79)))
routeb_new_1w1r_8x128_hi.add(gdstk.Reference(c_routeb_new_1w1r_8x128_co_____, (7.215,6.34)))
routeb_new_1w1r_8x128_hi.add(gdstk.Reference(c_routeb_new_1w1r_8x128_co_____, (6.415,8.16)))
routeb_new_1w1r_8x128_hi.add(gdstk.Reference(c_routeb_new_1w1r_8x128_co_____, (6.815,8.72)))
routeb_new_1w1r_8x128_hi.add(gdstk.Reference(c_routeb_new_1w1r_8x128_co_____, (8.415,9.17)))
routeb_new_1w1r_8x128_hi.add(gdstk.Reference(c_routeb_new_1w1r_8x128_co_____, (7.615,11.3)))
routeb_new_1w1r_8x128_hi.add(gdstk.Reference(c_routeb_new_1w1r_8x128_co_____, (6.815,10.74)))
routeb_new_1w1r_8x128_hi.add(gdstk.Reference(c_routeb_new_1w1r_8x128_co_____, (8.415,10.29)))
routeb_new_1w1r_8x128_hi.add(gdstk.Reference(c_routeb_new_1w1r_8x128_co_____, (6.415,12.11)))
routeb_new_1w1r_8x128_hi.add(gdstk.Reference(c_routeb_new_1w1r_8x128_co_____, (8.015,12.67)))
routeb_new_1w1r_8x128_hi.add(gdstk.Reference(c_routeb_new_1w1r_8x128_co_____, (8.415,13.12)))
routeb_new_1w1r_8x128_hi.add(gdstk.Reference(c_routeb_new_1w1r_8x128_co_____, (7.615,15.25)))
routeb_new_1w1r_8x128_hi.add(gdstk.Reference(c_routeb_new_1w1r_8x128_co_____, (8.015,14.69)))
routeb_new_1w1r_8x128_hi.add(gdstk.Reference(c_routeb_new_1w1r_8x128_co_____, (8.415,14.24)))
routeb_new_1w1r_8x128_hi.add(gdstk.Reference(c_routeb_new_1w1r_8x128_co__, (5.965,0.435)))
routeb_new_1w1r_8x128_hi.add(gdstk.Reference(c_routeb_new_1w1r_8x128_co______, (5.95,0.44)))
routeb_new_1w1r_8x128_hi.add(gdstk.Reference(c_routeb_new_1w1r_8x128_co_______, (6.42,1.395)))
routeb_new_1w1r_8x128_hi.add(gdstk.Reference(c_routeb_new_1w1r_8x128_co__, (5.965,3.185)))
routeb_new_1w1r_8x128_hi.add(gdstk.Reference(c_routeb_new_1w1r_8x128_co______, (5.95,3.19)))
routeb_new_1w1r_8x128_hi.add(gdstk.Reference(c_routeb_new_1w1r_8x128_co_______, (6.82,3.37)))
routeb_new_1w1r_8x128_hi.add(gdstk.Reference(c_routeb_new_1w1r_8x128_co__, (5.965,4.385)))
routeb_new_1w1r_8x128_hi.add(gdstk.Reference(c_routeb_new_1w1r_8x128_co______, (5.95,4.39)))
routeb_new_1w1r_8x128_hi.add(gdstk.Reference(c_routeb_new_1w1r_8x128_co_______, (7.22,5.345)))
routeb_new_1w1r_8x128_hi.add(gdstk.Reference(c_routeb_new_1w1r_8x128_co________, (0.305,15.28)))
routeb_new_1w1r_8x128_hi.add(gdstk.Reference(c_routeb_new_1w1r_8x128_co________, (7.615,15.28)))
routeb_new_1w1r_8x128_hi.add(gdstk.Reference(c_routeb_new_1w1r_8x128_co________, (0.705,14.72)))
routeb_new_1w1r_8x128_hi.add(gdstk.Reference(c_routeb_new_1w1r_8x128_co________, (8.015,14.72)))
routeb_new_1w1r_8x128_hi.add(gdstk.Reference(c_routeb_new_1w1r_8x128_co________, (1.105,14.27)))
routeb_new_1w1r_8x128_hi.add(gdstk.Reference(c_routeb_new_1w1r_8x128_co________, (8.415,14.27)))
routeb_new_1w1r_8x128_hi.add(gdstk.Reference(c_routeb_new_1w1r_8x128_co______, (5.14,1.815)))
routeb_new_1w1r_8x128_hi.add(gdstk.Reference(c_routeb_new_1w1r_8x128_co_________, (5.135,1.79)))
routeb_new_1w1r_8x128_hi.add(gdstk.Reference(c_routeb_new_1w1r_8x128_co______, (5.14,3.79)))
routeb_new_1w1r_8x128_hi.add(gdstk.Reference(c_routeb_new_1w1r_8x128_co_________, (5.135,3.765)))
routeb_new_1w1r_8x128_hi.add(gdstk.Reference(c_routeb_new_1w1r_8x128_co______, (19.01,1.815)))
routeb_new_1w1r_8x128_hi.add(gdstk.Reference(c_routeb_new_1w1r_8x128_co_________, (19.005,1.79)))
routeb_new_1w1r_8x128_hi.add(gdstk.Reference(c_routeb_new_1w1r_8x128_co______, (14.79,1.93)))
routeb_new_1w1r_8x128_hi.add(gdstk.Reference(c_routeb_new_1w1r_8x128_co_________, (14.785,1.905)))
routeb_new_1w1r_8x128_hi.add(gdstk.Reference(c_routeb_new_1w1r_8x128_co______, (12.63,1.93)))
routeb_new_1w1r_8x128_hi.add(gdstk.Reference(c_routeb_new_1w1r_8x128_co_________, (12.625,1.905)))
routeb_new_1w1r_8x128_hi.add(gdstk.Reference(c_routeb_new_1w1r_8x128_co______, (19.01,13.665)))
routeb_new_1w1r_8x128_hi.add(gdstk.Reference(c_routeb_new_1w1r_8x128_co_________, (19.005,13.64)))
routeb_new_1w1r_8x128_hi.add(gdstk.Reference(c_routeb_new_1w1r_8x128_co______, (14.79,13.78)))
routeb_new_1w1r_8x128_hi.add(gdstk.Reference(c_routeb_new_1w1r_8x128_co_________, (14.785,13.755)))
routeb_new_1w1r_8x128_hi.add(gdstk.Reference(c_routeb_new_1w1r_8x128_co______, (12.63,13.78)))
routeb_new_1w1r_8x128_hi.add(gdstk.Reference(c_routeb_new_1w1r_8x128_co_________, (12.625,13.755)))
routeb_new_1w1r_8x128_hi.add(gdstk.Reference(c_routeb_new_1w1r_8x128_co______, (2.86,1.815)))
routeb_new_1w1r_8x128_hi.add(gdstk.Reference(c_routeb_new_1w1r_8x128_co_________, (2.855,1.79)))
routeb_new_1w1r_8x128_hi.add(gdstk.Reference(c_routeb_new_1w1r_8x128_co______, (2.86,3.79)))
routeb_new_1w1r_8x128_hi.add(gdstk.Reference(c_routeb_new_1w1r_8x128_co_________, (2.855,3.765)))
routeb_new_1w1r_8x128_hi.add(gdstk.Reference(c_routeb_new_1w1r_8x128_co______, (10.505,1.93)))
routeb_new_1w1r_8x128_hi.add(gdstk.Reference(c_routeb_new_1w1r_8x128_co_________, (10.5,1.905)))
routeb_new_1w1r_8x128_hi.add(gdstk.Reference(c_routeb_new_1w1r_8x128_co______, (16.73,1.815)))
routeb_new_1w1r_8x128_hi.add(gdstk.Reference(c_routeb_new_1w1r_8x128_co_________, (16.725,1.79)))
routeb_new_1w1r_8x128_hi.add(gdstk.Reference(c_routeb_new_1w1r_8x128_co______, (10.505,13.78)))
routeb_new_1w1r_8x128_hi.add(gdstk.Reference(c_routeb_new_1w1r_8x128_co_________, (10.5,13.755)))
routeb_new_1w1r_8x128_hi.add(gdstk.Reference(c_routeb_new_1w1r_8x128_co______, (16.73,13.665)))
routeb_new_1w1r_8x128_hi.add(gdstk.Reference(c_routeb_new_1w1r_8x128_co_________, (16.725,13.64)))
routeb_new_1w1r_8x128_hi.add(gdstk.Label('in_0', (0.47,0.85), layer=68, texttype=5))
routeb_new_1w1r_8x128_hi.add(gdstk.Label('in_1', (0.87,3.1), layer=68, texttype=5))
routeb_new_1w1r_8x128_hi.add(gdstk.Label('in_2', (1.27,4.8), layer=68, texttype=5))
routeb_new_1w1r_8x128_hi.add(gdstk.Label('out_0', (18.352,0.6), layer=67, texttype=5))
routeb_new_1w1r_8x128_hi.add(gdstk.Label('out_1', (18.352,3.35), layer=67, texttype=5))
routeb_new_1w1r_8x128_hi.add(gdstk.Label('out_2', (18.352,4.55), layer=67, texttype=5))
routeb_new_1w1r_8x128_hi.add(gdstk.Label('out_3', (18.352,7.3), layer=67, texttype=5))
routeb_new_1w1r_8x128_hi.add(gdstk.Label('out_4', (18.352,8.5), layer=67, texttype=5))
routeb_new_1w1r_8x128_hi.add(gdstk.Label('out_5', (18.352,11.25), layer=67, texttype=5))
routeb_new_1w1r_8x128_hi.add(gdstk.Label('out_6', (18.352,12.45), layer=67, texttype=5))
routeb_new_1w1r_8x128_hi.add(gdstk.Label('out_7', (18.352,15.2), layer=67, texttype=5))
routeb_new_1w1r_8x128_hi.add(gdstk.Label('vdd', (5.3,1.975), layer=70, texttype=5))
routeb_new_1w1r_8x128_hi.add(gdstk.Label('vdd', (19.17,13.825), layer=70, texttype=5))
routeb_new_1w1r_8x128_hi.add(gdstk.Label('vdd', (14.95,2.09), layer=70, texttype=5))
routeb_new_1w1r_8x128_hi.add(gdstk.Label('vdd', (14.95,13.94), layer=70, texttype=5))
routeb_new_1w1r_8x128_hi.add(gdstk.Label('vdd', (12.79,13.94), layer=70, texttype=5))
routeb_new_1w1r_8x128_hi.add(gdstk.Label('vdd', (12.79,2.09), layer=70, texttype=5))
routeb_new_1w1r_8x128_hi.add(gdstk.Label('vdd', (19.17,1.975), layer=70, texttype=5))
routeb_new_1w1r_8x128_hi.add(gdstk.Label('vdd', (5.3,3.95), layer=70, texttype=5))
routeb_new_1w1r_8x128_hi.add(gdstk.Label('gnd', (3.02,1.975), layer=70, texttype=5))
routeb_new_1w1r_8x128_hi.add(gdstk.Label('gnd', (10.665,13.94), layer=70, texttype=5))
routeb_new_1w1r_8x128_hi.add(gdstk.Label('gnd', (10.665,2.09), layer=70, texttype=5))
routeb_new_1w1r_8x128_hi.add(gdstk.Label('gnd', (3.02,3.95), layer=70, texttype=5))
routeb_new_1w1r_8x128_hi.add(gdstk.Label('gnd', (16.89,1.975), layer=70, texttype=5))
routeb_new_1w1r_8x128_hi.add(gdstk.Label('gnd', (16.89,13.825), layer=70, texttype=5))

lib.write_gds('routeb_new_1w1r_8x128_hierarchical_predecode3x8.gds')
